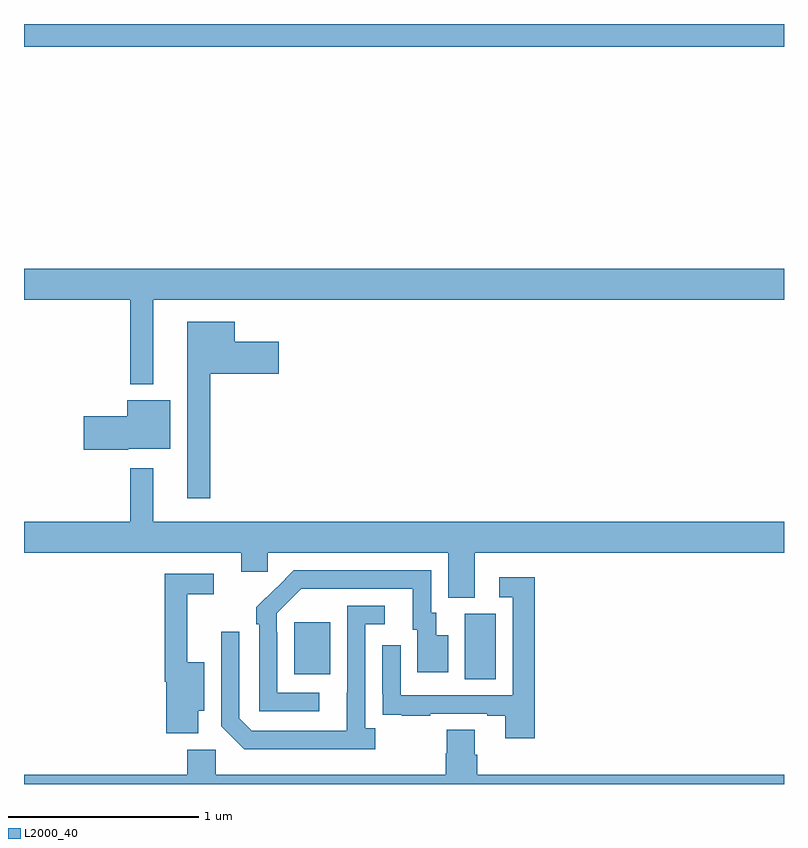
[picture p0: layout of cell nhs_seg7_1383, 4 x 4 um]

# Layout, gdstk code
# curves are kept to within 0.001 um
import gdstk
lib = gdstk.Library(unit=1e-6, precision=1e-09)
def R(c, l, rs):  # rectangles x0, y0, x1, y1
    for r in rs: c.add(gdstk.rectangle(r[:2], r[2:], *l))
def P(c, l, *ps):  # polygons
    for p in ps: c.add(gdstk.Polygon(p, *l))
L2000_40 = (2000, 40)

nhs_seg7_1383 = lib.new_cell('nhs_seg7_1383')
R(nhs_seg7_1383, L2000_40, [(207.32,1066.552,207.484,1066.896), (206.423,1066.577,206.611,1066.852), (205,1069.88,209,1070)])
P(nhs_seg7_1383, L2000_40, [(205.681,1068.548),(209,1068.548),(209,1068.712),(205,1068.712),(205,1068.548),(205.56,1068.548),(205.56,1068.104),(205.681,1068.104)],
  [(205.981,1068.158),(206.341,1068.158),(206.341,1068.328),(206.11,1068.328),(206.11,1068.433),(205.859,1068.433),(205.859,1067.505),(205.981,1067.505)],
  [(205.548,1067.765),(205.771,1067.765),(205.771,1068.019),(205.544,1068.019),(205.544,1067.936),(205.314,1067.936),(205.314,1067.758),(205.548,1067.758)],
  [(207.373,1067.216),(209,1067.216),(209,1067.38),(205.681,1067.38),(205.681,1067.662),(205.56,1067.662),(205.56,1067.38),(205,1067.38),(205,1067.216),(206.144,1067.216),(206.144,1067.118),(206.283,1067.118),(206.283,1067.216),(207.233,1067.216),(207.233,1066.981),(207.373,1066.981)],
  [(206.554,1066.479),(206.334,1066.479),(206.334,1066.799),(206.331,1066.799),(206.331,1066.899),(206.46,1067.028),(207.047,1067.028),(207.047,1066.812),(207.071,1066.812),(207.071,1066.587),(207.232,1066.587),(207.232,1066.783),(207.169,1066.783),(207.169,1066.902),(207.144,1066.902),(207.144,1067.124),(206.42,1067.124),(206.223,1066.929),(206.223,1066.841),(206.238,1066.841),(206.238,1066.383),(206.554,1066.383)],
  [(205.918,1066.385),(205.948,1066.385),(205.948,1066.642),(205.859,1066.642),(205.859,1066.998),(205.999,1066.998),(205.999,1067.106),(205.741,1067.106),(205.741,1066.538),(205.748,1066.538),(205.748,1066.266),(205.918,1066.266)],
  [(207.689,1067.089),(207.501,1067.089),(207.501,1066.983),(207.573,1066.983),(207.573,1066.467),(206.982,1066.467),(206.982,1066.729),(206.886,1066.729),(206.886,1066.474),(206.887,1066.474),(206.887,1066.365),(206.989,1066.365),(206.989,1066.359),(207.137,1066.359),(207.137,1066.371),(207.437,1066.371),(207.437,1066.359),(207.533,1066.359),(207.533,1066.242),(207.689,1066.242)],
  [(206.848,1066.294),(206.796,1066.294),(206.796,1066.842),(206.899,1066.842),(206.899,1066.938),(206.7,1066.938),(206.699,1066.281),(206.199,1066.281),(206.133,1066.347),(206.133,1066.801),(206.037,1066.801),(206.037,1066.305),(206.158,1066.184),(206.848,1066.184)],
  [(209,1066.048),(207.386,1066.048),(207.386,1066.154),(207.373,1066.154),(207.373,1066.286),(207.226,1066.286),(207.226,1066.161),(207.221,1066.161),(207.221,1066.048),(206.01,1066.048),(206.01,1066.18),(205.859,1066.18),(205.859,1066.048),(205,1066.048),(205,1066),(209,1066)])

lib.write_gds('nhs_seg7_1383.gds')
